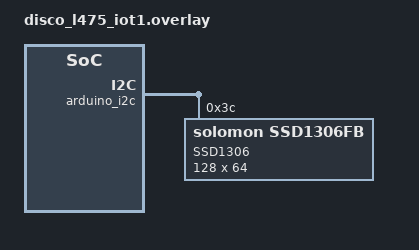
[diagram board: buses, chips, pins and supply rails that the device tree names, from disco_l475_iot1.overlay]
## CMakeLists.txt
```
cmake_minimum_required(VERSION 3.13.1)
# Copyright (c) 2019  STMicroelectronics
#
# SPDX-License-Identifier: Apache-2.0
#

#set(SHIELD x_nucleo_iks01a2)

include($ENV{ZEPHYR_BASE}/cmake/app/boilerplate.cmake NO_POLICY_SCOPE)

project(openamp_o_uart)

target_sources(app PRIVATE src/main_remote.c)
target_include_directories(app PRIVATE ${CMAKE_CURRENT_SOURCE_DIR}/..)
```

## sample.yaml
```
sample:
    description: This app provides an example of how to integrate OpenAMP
        with Zephyr in cluding a esource table.
    name: OpenAMP with resource table example integration
tests:
    sample.subsys.ipc.openamp_o_uart:
        build_only: true
        platform_whitelist: nucleo_f411re
        tags: ipm
        depends_on: arduino_i2c
```

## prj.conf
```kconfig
CONFIG_KERNEL_BIN_NAME="zephyr_openamp_i2c"
CONFIG_PRINTK=n
CONFIG_PLATFORM_SPECIFIC_INIT=n
CONFIG_MAIN_STACK_SIZE=4096
CONFIG_HEAP_MEM_POOL_SIZE=16384
CONFIG_I2C=y
CONFIG_I2C_STM32_INTERRUPT=y

# add display
CONFIG_DISPLAY=y
CONFIG_CFB_LOG_LEVEL_DBG=y
CONFIG_CHARACTER_FRAMEBUFFER=y
CONFIG_SSD1306=y

CONFIG_SERIAL=y

CONFIG_I2C=y
CONFIG_GPIO=y
CONFIG_SENSOR=y
CONFIG_VL53L0X=y
CONFIG_VL53L0X_PROXIMITY_THRESHOLD=100

#debug
CONFIG_DEBUG=y
CONFIG_LOG=y
CONFIG_SENSOR_LOG_LEVEL_DBG=y
```

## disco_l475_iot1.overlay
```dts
/*
 * Copyright (c) 2019, STMICROLECTRONICS
 *
 * SPDX-License-Identifier: Apache-2.0
 */


&arduino_i2c {
	status = "okay";
	ssd1306@3c {
		compatible = "solomon,ssd1306fb";
		reg = <0x3c>;
		label = "SSD1306";
		width = <128>;
		height = <64>;
		segment-offset = <0>;
		page-offset = <0>;
		display-offset = <0>;
		segment-remap;
		com-invdir;
		prechargep = <0x22>;
	};
};
```

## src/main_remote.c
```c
/*
 * Copyright (c) 2019, STMICROLECTRONICS
 *
 * SPDX-License-Identifier: Apache-2.0
 */

#include <init.h>
#include <zephyr.h>
#include <device.h>
#include <string.h>
#include <stdlib.h>
#include <stdio.h>
#include <drivers/sensor.h>
#include <drivers/i2c.h>
#include <drivers/uart.h>

#include <logging/log.h>
LOG_MODULE_REGISTER(openamp_uart, LOG_LEVEL_DBG);

/* Display / Framebuffer */
#include <display/cfb.h>
#if defined(CONFIG_SSD1306)
#define DISPLAY_DRIVER		"SSD1306"
#endif

#define RPMSG_NAME_SIZE	(32)
#define	RPMSG_MAGIC_NUMBER	(0xbe57)

#define RPMSG_MAX_BUF_SIZE	(512)
#define RPMSG_ADDR_ANY		(0xFFFFFFFF)
#define RPMSG_NS_ADDR		(0x35)
#define RPMSG_SERVICE_NAME	"rpmsg-button"

#define STOP_REQ	1
#define RESTART_REQ	2

#define APP_TASK_STACK_SIZE (4096)
K_THREAD_STACK_DEFINE(thread_stack, APP_TASK_STACK_SIZE);
static struct k_thread thread_data;

/* RPMsg structures */
struct rpmsg_hdr {
	uint32_t src;
	uint32_t dst;
	uint32_t reserved;
	uint16_t len;
	uint16_t flags;
	u8_t data[0];
} __attribute__((__packed__));

typedef int (*rpmsg_rx_cb_t)(void *data, uint32_t len);

struct rpmsg_endpoint {
	char name[RPMSG_NAME_SIZE];
	rpmsg_rx_cb_t cb;
	uint32_t src;
	uint32_t dst;
};

struct rpmsg_ns_msg {
	char name[RPMSG_NAME_SIZE];
	uint32_t addr;
	uint32_t flags;
} __attribute__((__packed__));

enum rpmsg_ns_flags {
	RPMSG_NS_CREATE		= 0,
	RPMSG_NS_DESTROY	= 1,
};

static int rpmsg_proxy_cb(void *data, uint32_t len);
static int rpmsg_dist_cb(void *data, uint32_t len);
static int rpmsg_shutdown_cb(void *data, uint32_t len);

static struct rpmsg_endpoint proxy_ept = {
	"rpmsg-button",
	rpmsg_proxy_cb,
	0,
	-1
};

static struct rpmsg_endpoint dist_ept = {
	"rpmsg-vl5310x",
	rpmsg_dist_cb,
	1,
	-1
};

static struct rpmsg_endpoint shutdown_ept = {
	"rpmsg-tty-channel",
	rpmsg_shutdown_cb,
	2,
	-1
};

static struct rpmsg_endpoint *ept_tab[] = {
	&proxy_ept, &dist_ept, &shutdown_ept, NULL};
static u8_t recv_rpmsg[RPMSG_MAX_BUF_SIZE];
static u8_t recvData[RPMSG_MAX_BUF_SIZE];
static int rx_data_idx;
bool magic_number; /* use to synchronize RPMSG message start */

/* devices */
static struct device *dev_display;
static struct device *dev_tof;
static struct device *dev_uart;

/* display */
static u16_t display_rows;
static u8_t display_ppt;
static u8_t display_font_width;
static u8_t display_font_height;
static bool display_available;

static K_SEM_DEFINE(data_sem, 0, 1);
static u8_t proxy_val;
static u8_t stop_mode;

static inline int uart_rpmsg_send(struct device *dev_uart, uint32_t src,
				  uint32_t dst, const void *data, int len)
{
	int msg_size = len + sizeof(struct rpmsg_hdr);
	u16_t mag_num = RPMSG_MAGIC_NUMBER;
	u8_t msg_buff[RPMSG_MAX_BUF_SIZE];
	struct rpmsg_hdr *msg_container = (struct rpmsg_hdr *)msg_buff;
	u8_t *p_msg_buff;
	int i;

	msg_container->src = src;
	msg_container->dst = dst;
	msg_container->flags = 0;
	msg_container->len = len;
	msg_container->reserved = 0;

	memcpy(msg_container->data, data, len);

	p_msg_buff = (u8_t *)&mag_num;
	for (i = 0; i < 2; i++) {
		uart_poll_out(dev_uart, p_msg_buff[i]);
	}

	for (i = 0; i < msg_size; i++) {
		uart_poll_out(dev_uart, msg_buff[i]);
	}

	return 0;
}

static int rpmsg_proxy_cb(void *data, uint32_t len)
{
	LOG_ERR("%s:\n", __func__);

	return 0;
}

static int rpmsg_shutdown_cb(void *data, uint32_t len)
{
	LOG_ERR("%s: %d\n", __func__, len);

	if (!strncmp(data, "stop", 4)) {
		LOG_DBG("%s: shutdown requested\n", __func__);
		stop_mode = STOP_REQ;
	} else if (!strncmp(data, "restart", 7)) {
		LOG_DBG("%s: restart requested\n", __func__);
		stop_mode = RESTART_REQ;
	}
	return 0;
}

static int rpmsg_dist_cb(void *data, uint32_t len)
{

	int ret;
	struct sensor_value value;
	unsigned int val_mm;

	LOG_DBG("%s:\n", __func__);
	ret = sensor_sample_fetch(dev_tof);
	if (ret) {
		printk("sensor_sample_fetch failed ret %d\n", ret);
		return ret;
	}

	ret = sensor_channel_get(dev_tof, SENSOR_CHAN_DISTANCE, &value);
	if (ret) {
		LOG_ERR("%s: %d\n", __func__, __LINE__);
		return ret;
	}

	val_mm = (value.val1 * 1000) + (value.val2 / 1000);
	LOG_DBG("%s: send dist %d\n", __func__, val_mm);
	uart_rpmsg_send(dev_uart, dist_ept.src, dist_ept.dst, &val_mm,
			sizeof(val_mm));

	return 0;
}

static int uart_rpmsg_send_ns_message(struct device *dev_uart,
				      char *name, uint32_t addr,
				      unsigned long flags)

{
	struct rpmsg_ns_msg ns_msg;

	ns_msg.flags = flags;
	ns_msg.addr = addr;
	strncpy(ns_msg.name, name, sizeof(ns_msg.name));
	return uart_rpmsg_send(dev_uart, addr, RPMSG_NS_ADDR,
			       &ns_msg, sizeof(ns_msg));
}

static int uart_rpmsg_create_ept(struct device *dev_uart,
				 struct rpmsg_endpoint *ept)
{
	ept->dst  = -1;
	return uart_rpmsg_send_ns_message(dev_uart, ept->name, ept->src,
					  RPMSG_NS_CREATE);
}

static int uart_rpmsg_destroy_ept(struct device *dev_uart,
				  struct rpmsg_endpoint *ept)
{
	return uart_rpmsg_send_ns_message(dev_uart, ept->name, ept->src,
					  RPMSG_NS_DESTROY);
}

static int receive_message(void)
{
	int status;
	struct rpmsg_hdr *p_msg = (struct rpmsg_hdr *)recv_rpmsg;
	struct rpmsg_endpoint *ept = ept_tab[0];
	unsigned int i = 0;

	status = k_sem_take(&data_sem, K_MSEC(200));
	if (status == 0) {
		while (ept != NULL) {
			if (p_msg->dst == ept->src) {
				if (ept->dst == -1)
					ept->dst = p_msg->src;
				return ept->cb(p_msg->data, p_msg->len);
			}
			ept = ept_tab[i];
			i++;
		}
	}

	return status;
}

void stop_display(void)
{
	display_blanking_on(dev_display);
}

static void init_sensors(void)
{
	dev_tof = device_get_binding(DT_INST_0_ST_VL53L0X_LABEL);
	if (dev_tof == NULL) {
		printk("Could not get VL53L0X device\n");
	}
}

static void init_display(void)
{
	/* init display */
	dev_display = device_get_binding(DISPLAY_DRIVER);
	if (!dev_display) {
		LOG_ERR("Display Device not found\n");
	} else {
		display_available = true;

		if (display_set_pixel_format(dev_display,
					     PIXEL_FORMAT_MONO10) != 0) {
			LOG_ERR("Failed to set format PIXEL_FORMAT_MONO10\n");
			return;
		}
		if (cfb_framebuffer_init(dev_display)) {
			LOG_ERR("Framebuffer initialization failed!\n");
			return;
		}
		cfb_framebuffer_clear(dev_display, true);

		display_blanking_off(dev_display);

		display_rows = cfb_get_display_parameter(dev_display,
							 CFB_DISPLAY_ROWS);
		display_ppt = cfb_get_display_parameter(dev_display,
							CFB_DISPLAY_PPT);
		for (int idx = 0; idx < 42; idx++) {
			if (cfb_get_font_size(dev_display, idx,
					      &display_font_width,
					      &display_font_height)) {
				break;
			}
			cfb_framebuffer_set_font(dev_display, idx);
			LOG_DBG("idx: %d font width %d, font height %d\n",
				idx, display_font_width, display_font_height);
		}
		/* for idx: 0 font width 10, font height 16*/
		cfb_framebuffer_set_font(dev_display, 0);
		cfb_get_font_size(dev_display, 0, &display_font_width,
				  &display_font_height);

		LOG_DBG("x_res %d, y_res %d, ppt %d, rows %d, cols %d\n",
			cfb_get_display_parameter(dev_display, CFB_DISPLAY_WIDTH),
			cfb_get_display_parameter(dev_display, CFB_DISPLAY_HEIGH),
			display_ppt,
			display_rows,
			cfb_get_display_parameter(dev_display, CFB_DISPLAY_COLS));
	}
}

static void uart_callback(struct device *dev)
{
	uint32_t recv_sync;
	int num;
	static unsigned int msg_size;
	struct rpmsg_hdr *p_msg = (struct rpmsg_hdr *)recvData;

	/* Verify uart_irq_update() */
	if (!uart_irq_update(dev)) {
		LOG_ERR("retval should always be 1\n");
		return;
	}

	/* Verify uart_irq_rx_ready() */
	if (uart_irq_rx_ready(dev)) {
		/* Verify uart_fifo_read() */
		if (!magic_number) {
			num = uart_fifo_read(dev,
					     (u8_t *)&recvData[rx_data_idx], 1);
			rx_data_idx += num;
			if (rx_data_idx == 2) {
				recv_sync = recvData[0] + (recvData[1] << 8);
				if (recvData[0] == 0x57  &&
				    recvData[1] == 0xbe) {
					magic_number = true;
					msg_size = 0;
					rx_data_idx = 0;
				} else {
					recvData[0] = recvData[1];
					rx_data_idx--;
				}
			}
		} else {
			num = uart_fifo_read(dev,
					     (u8_t *)&recvData[rx_data_idx], 1);
			rx_data_idx += num;
			if (rx_data_idx == sizeof(struct rpmsg_hdr)) {
				/* header can be parsed */
				msg_size = p_msg->len;
			} else if (msg_size != 0 &&
				   (rx_data_idx ==
					sizeof(struct rpmsg_hdr) + msg_size)) {
				memcpy(recv_rpmsg, recvData,
				       sizeof(struct rpmsg_hdr) + msg_size);
				magic_number = false;
				rx_data_idx = 0;
				LOG_DBG("%s: msg received\n", __func__);
				k_sem_give(&data_sem);
			}
		}

	}
}

static void app_task(void *arg1, void *arg2, void *arg3)
{
	ARG_UNUSED(arg1);
	ARG_UNUSED(arg2);
	ARG_UNUSED(arg3);
	char display_buf[16];
	u8_t line = 0;
	struct sensor_value value;
	int ret;

	LOG_INF("\r\nrpmsg over uart demo started\n");

	init_sensors();

	dev_uart = device_get_binding(DT_UART_STM32_UART_4_NAME);
	if (!dev_uart) {
		LOG_ERR("dev_uart Device not found\n");
		return;
	}
	magic_number = 0;

	uart_irq_callback_set(dev_uart, uart_callback);

	uart_irq_rx_enable(dev_uart);

start_task:
	init_display();

	if (display_available) {
		line = 0;
		cfb_framebuffer_clear(dev_display, false);
		cfb_print(dev_display, "Zephyr", 0,
			  line++ * display_font_height);
		cfb_print(dev_display, "   Waiting ", 0,
			  line++ * display_font_height);
		cfb_print(dev_display, "    ToF    ", 0,
			  line++ * display_font_height);
		cfb_print(dev_display, "    data   ", 0,
			  line++ * display_font_height);
		cfb_framebuffer_finalize(dev_display);
	}

	/*ept creation*/
	if (uart_rpmsg_create_ept(dev_uart, &proxy_ept) != 0) {
		LOG_ERR("rpmsg ns service failed\n");
		return;
	}

	receive_message();

	/*ept creation*/
	if (uart_rpmsg_create_ept(dev_uart, &dist_ept) != 0) {
		LOG_ERR("rpmsg ns service failed\n");
		return;
	}

	k_sleep(200);
	/*ept creation*/
	if (uart_rpmsg_create_ept(dev_uart, &shutdown_ept) != 0) {
		LOG_ERR("rpmsg ns service failed\n");
		return;
	}

	while (1) {
		unsigned int line = 0;

		if (display_available)
			cfb_framebuffer_clear(dev_display, false);

		if (display_available)
			cfb_print(dev_display, "   Zephyr", 0,
				  line++ * display_font_height);

		ret = sensor_sample_fetch(dev_tof);
		if (ret) {
			printk("sensor_sample_fetch failed ret %d\n", ret);
			return;
		}

		/* proxy */
		ret = sensor_channel_get(dev_tof, SENSOR_CHAN_PROX, &value);
		snprintf(display_buf, sizeof(display_buf), "proximity: %d",
			 value.val1);
		if (display_available)
			cfb_print(dev_display, display_buf, 0,
				  line++ * display_font_height);

		if (value.val1 != proxy_val) {
			proxy_val = value.val1;
			uart_rpmsg_send(dev_uart, proxy_ept.src,
					proxy_ept.dst, &proxy_val,
					sizeof(proxy_val));
		}

		/* distance */
		ret = sensor_channel_get(dev_tof,
					 SENSOR_CHAN_DISTANCE,
					 &value);
		snprintf(display_buf, sizeof(display_buf), "dist: %.3fm",
			 sensor_value_to_double(&value));
		if (display_available)
			cfb_print(dev_display, display_buf, 0,
				  line++ * display_font_height);
		if (display_available)
			cfb_framebuffer_finalize(dev_display);

		receive_message();
		if (stop_mode)
			goto end_task;
	}

end_task:
	k_sleep(200);

	stop_display();

	if (uart_rpmsg_destroy_ept(dev_uart, &proxy_ept) != 0) {
		LOG_ERR("rpmsg ns service destroy failed\n");
		return;
	}

	k_sleep(100);
	if (uart_rpmsg_destroy_ept(dev_uart, &dist_ept) != 0) {
		LOG_ERR("rpmsg ns service destroy failed\n");
		return;
	}
	k_sleep(100);

	if (uart_rpmsg_destroy_ept(dev_uart, &shutdown_ept) != 0) {
		LOG_ERR("rpmsg ns service destroy failed\n");
		return;
	}

	k_sleep(100);
	if (stop_mode == RESTART_REQ) {
		stop_mode = 0;
		goto start_task;
	}

	printk("sensor task ended\n");
}

void main(void)
{
	k_thread_create(&thread_data, thread_stack, APP_TASK_STACK_SIZE,
			(k_thread_entry_t)app_task,
			NULL, NULL, NULL, K_PRIO_COOP(7), 0, 0);

}
```
